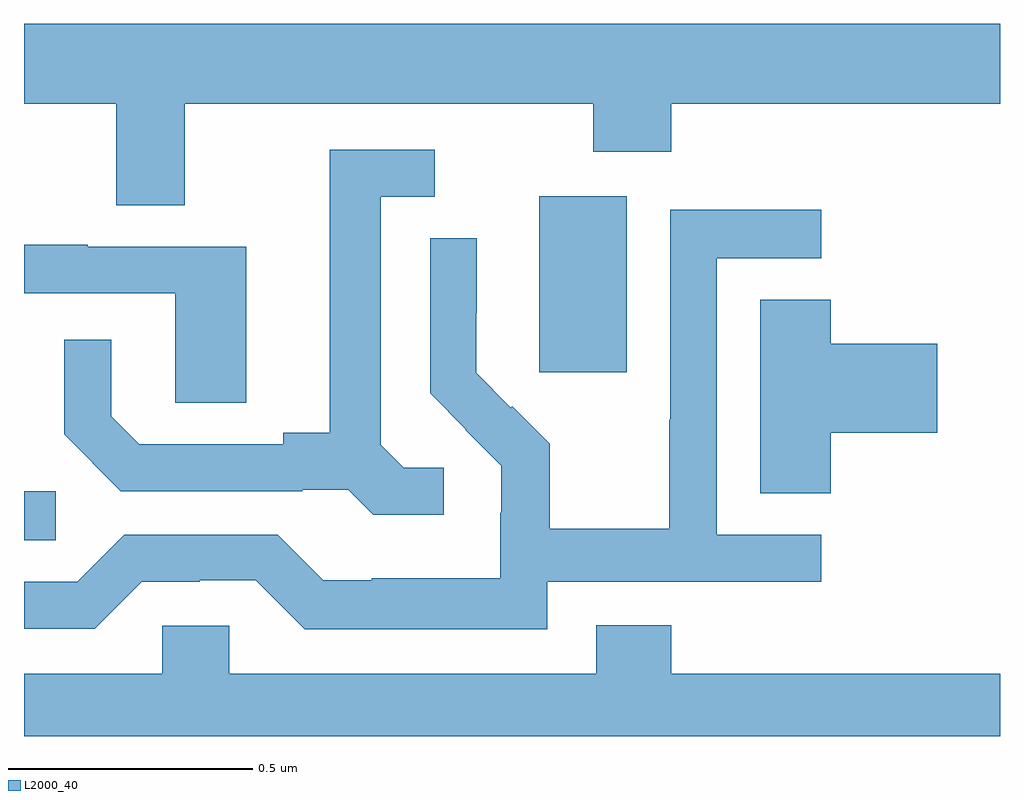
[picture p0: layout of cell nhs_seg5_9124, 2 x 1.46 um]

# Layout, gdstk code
import gdstk
lib = gdstk.Library(unit=1e-6, precision=1e-09)
def R(c, l, rs):  # rectangles x0, y0, x1, y1
    for r in rs: c.add(gdstk.rectangle(r[:2], r[2:], *l))
def P(c, l, *ps):  # polygons
    for p in ps: c.add(gdstk.Polygon(p, *l))
L2000_40 = (2000, 40)

nhs_seg5_9124 = lib.new_cell('nhs_seg5_9124')
R(nhs_seg5_9124, L2000_40, [(230,853.201,230.065,853.302), (231.056,853.545,231.235,853.906)])
P(nhs_seg5_9124, L2000_40, [(230.329,854.096),(231.166,854.096),(231.166,853.997),(231.326,853.997),(231.326,854.096),(232,854.096),(232,854.26),(230,854.26),(230,854.096),(230.189,854.096),(230.189,853.888),(230.329,853.888)],
  [(230.86,853.35),(230.778,853.35),(230.731,853.397),(230.731,853.905),(230.842,853.905),(230.842,854.001),(230.627,854.001),(230.627,853.421),(230.531,853.421),(230.531,853.398),(230.236,853.398),(230.179,853.455),(230.179,853.612),(230.082,853.612),(230.082,853.418),(230.198,853.302),(230.57,853.302),(230.57,853.305),(230.664,853.305),(230.716,853.253),(230.86,853.253)],
  [(231.072,853.116),(231.634,853.116),(231.634,853.212),(231.42,853.212),(231.42,853.779),(231.634,853.779),(231.634,853.878),(231.324,853.878),(231.324,853.448),(231.322,853.448),(231.322,853.225),(231.077,853.225),(231.077,853.399),(231,853.476),(230.997,853.473),(230.927,853.544),(230.927,853.666),(230.928,853.666),(230.928,853.82),(230.832,853.82),(230.832,853.502),(230.905,853.429),(230.904,853.428),(230.978,853.354),(230.978,853.257),(230.976,853.257),(230.976,853.123),(230.713,853.123),(230.713,853.119),(230.613,853.119),(230.52,853.212),(230.205,853.212),(230.109,853.116),(230,853.116),(230,853.02),(230.145,853.02),(230.241,853.116),(230.36,853.116),(230.36,853.119),(230.475,853.119),(230.575,853.019),(231.072,853.019)],
  [(230.455,853.803),(230.131,853.803),(230.131,853.807),(230,853.807),(230,853.707),(230.31,853.707),(230.31,853.483),(230.455,853.483)],
  [(231.653,853.421),(231.871,853.421),(231.871,853.604),(231.653,853.604),(231.653,853.694),(231.509,853.694),(231.509,853.297),(231.653,853.297)],
  [(232,852.928),(231.326,852.928),(231.326,853.027),(231.173,853.027),(231.173,852.928),(230.421,852.928),(230.421,853.026),(230.283,853.026),(230.283,852.928),(230,852.928),(230,852.799),(232,852.799)])

lib.write_gds('nhs_seg5_9124.gds')
